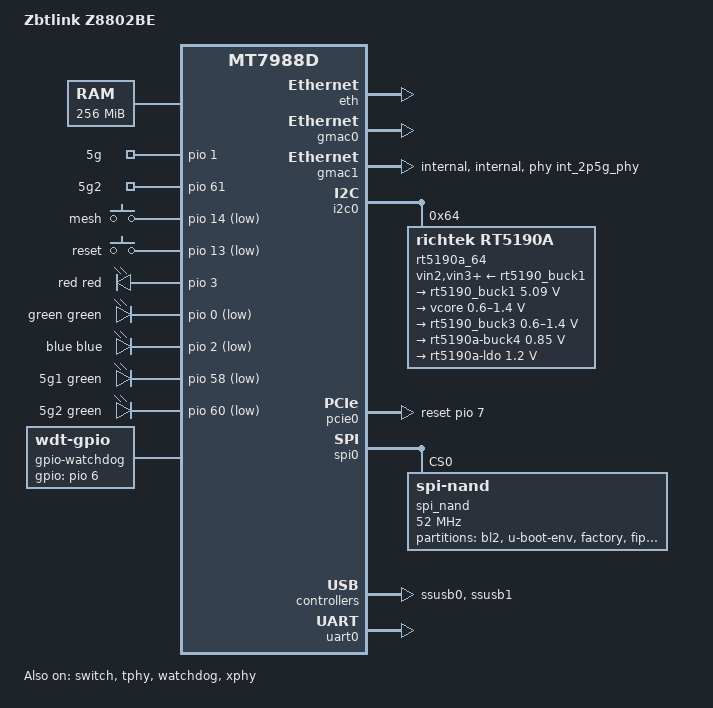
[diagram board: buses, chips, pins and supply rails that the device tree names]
// SPDX-License-Identifier: (GPL-2.0 OR MIT)

/dts-v1/;
#include <dt-bindings/input/input.h>
#include <dt-bindings/gpio/gpio.h>
#include <dt-bindings/leds/common.h>
#include <dt-bindings/pinctrl/mt65xx.h>
#include <dt-bindings/regulator/richtek,rt5190a-regulator.h>

#include "mt7988a.dtsi"

/ {
	model = "Zbtlink Z8802BE";
	compatible = "zbtlink,zbt-z8802be", "mediatek,mt7988d";

	aliases {
		serial0 = &uart0;
		label-mac-device = &gmac0;
		led-boot = &led_sys_red;
		led-failsafe = &led_sys_red;
		led-running = &led_sys_green;
		led-upgrade = &led_sys_red;
	};

	chosen {
		bootargs = "console=ttyS0,115200n1 loglevel=8 earlycon=uart8250,mmio32,0x11000000 pci=pcie_bus_perf";
	};

	cpus {
		/delete-node/ cpu@3;
	};

	memory {
		reg = <0x0 0x40000000 0x0 0x10000000>;
	};

	gpio-export {
		compatible = "gpio-export";
		#size-cells = <0>;

		5g {
				gpio-export,name = "5g";
				gpio-export,output = <0>;
				gpios = <&pio 1 GPIO_ACTIVE_HIGH>;
		};
		5g2 {
				gpio-export,name = "5g2";
				gpio-export,output = <0>;
				gpios = <&pio 61 GPIO_ACTIVE_HIGH>;
		};
    };

	gpio-keys {
		compatible = "gpio-keys";

		button-mesh {
			label = "mesh";
			linux,code = <KEY_WPS_BUTTON>;
			gpios = <&pio 14 GPIO_ACTIVE_LOW>;
		};

		button-reset {
			label = "reset";
			linux,code = <KEY_RESTART>;
			gpios = <&pio 13 GPIO_ACTIVE_LOW>;
		};
	};

	gpio-leds {
		compatible = "gpio-leds";

		led_sys_red: system_red {
			label = "red";
			color = <LED_COLOR_ID_RED>;
			gpios = <&pio 3 GPIO_ACTIVE_HIGH>;
			default-state = "on";
		};

		led_sys_green: system_green {
			label = "green";
			color = <LED_COLOR_ID_GREEN>;
			gpios = <&pio 0 GPIO_ACTIVE_LOW>;
			default-state = "off";
		};

		led_sys_blue: system_blue {
			label = "blue";
			color = <LED_COLOR_ID_BLUE>;
			gpios = <&pio 2 GPIO_ACTIVE_LOW>;
			default-state = "off";
		};

		5g1 {
			label = "5g1";
			color = <LED_COLOR_ID_GREEN>;
			gpios = <&pio 58 GPIO_ACTIVE_LOW>;
			default-state = "off";
		};

		5g2 {
			label = "5g2";
			color = <LED_COLOR_ID_GREEN>;
			gpios = <&pio 60 GPIO_ACTIVE_LOW>;
			default-state = "off";
		};
	};

	gpio-watchdog {
		compatible = "linux,wdt-gpio";
		gpios = <&pio 6 GPIO_ACTIVE_HIGH>;
		hw_algo = "toggle";
		hw_margin_ms = <1000>;
		always-running;
	};
};

&cpu0 {
	proc-supply = <&rt5190_buck3>;
};

&cpu1 {
	proc-supply = <&rt5190_buck3>;
};

&cpu2 {
	proc-supply = <&rt5190_buck3>;
};

&cci {
	proc-supply = <&rt5190_buck3>;
};

&eth {
	status = "okay";
};

&gmac0 {
	nvmem-cells = <&macaddr_factory_ffff4>;
	nvmem-cell-names = "mac-address";
	status = "okay";
};

&gmac1 {
	nvmem-cells = <&macaddr_factory_ffffa>;
	nvmem-cell-names = "mac-address";
	label = "wan";

	phy-mode = "internal";
	phy-connection-type = "internal";
	phy = <&int_2p5g_phy>;

	status = "okay";
};

&gsw_port0 {
	label = "lan1";
};

&gsw_port1 {
	label = "lan2";
};

&gsw_port2 {
	label = "lan3";
};

&gsw_port3 {
	label = "lan4";
};

&i2c0 {
	pinctrl-names = "default";
	pinctrl-0 = <&i2c0_pins>;
	status = "okay";

	rt5190a_64: rt5190a@64 {
		compatible = "richtek,rt5190a";
		reg = <0x64>;
		/*interrupts-extended = <&gpio26 0 IRQ_TYPE_LEVEL_LOW>;*/
		vin2-supply = <&rt5190_buck1>;
		vin3-supply = <&rt5190_buck1>;
		vin4-supply = <&rt5190_buck1>;

		regulators {
			rt5190_buck1: buck1 {
				regulator-name = "rt5190a-buck1";
				regulator-min-microvolt = <5090000>;
				regulator-max-microvolt = <5090000>;
				regulator-allowed-modes = <RT5190A_OPMODE_AUTO RT5190A_OPMODE_FPWM>;
				regulator-boot-on;
				regulator-always-on;
			};

			buck2 {
				regulator-name = "vcore";
				regulator-min-microvolt = <600000>;
				regulator-max-microvolt = <1400000>;
				regulator-boot-on;
				regulator-always-on;
			};

			rt5190_buck3: buck3 {
				regulator-name = "vproc";
				regulator-min-microvolt = <600000>;
				regulator-max-microvolt = <1400000>;
				regulator-boot-on;
			};

			buck4 {
				regulator-name = "rt5190a-buck4";
				regulator-min-microvolt = <850000>;
				regulator-max-microvolt = <850000>;
				regulator-allowed-modes = <RT5190A_OPMODE_AUTO RT5190A_OPMODE_FPWM>;
				regulator-boot-on;
				regulator-always-on;
			};

			ldo {
				regulator-name = "rt5190a-ldo";
				regulator-min-microvolt = <1200000>;
				regulator-max-microvolt = <1200000>;
				regulator-boot-on;
				regulator-always-on;
			};
		};
	};
};

&pcie0 {
	reset-gpios = <&pio 7 GPIO_ACTIVE_HIGH>;
	status = "okay";

	pcie@0,0 {
		reg = <0x0000 0 0 0 0>;
		#address-cells = <3>;
		#size-cells = <2>;

		mt7992@0,0 {
			reg = <0x0000 0 0 0 0>;
			#address-cells = <1>;
			#size-cells = <0>;
			nvmem-cells = <&eeprom_factory_0>;
			nvmem-cell-names = "eeprom";

			band@0 {
				reg = <0>;
				nvmem-cells = <&macaddr_factory_4>;
				nvmem-cell-names = "mac-address";
			};

			/* FIXME: this does not work */
			band@1 {
				reg = <1>;
				nvmem-cells = <&macaddr_factory_a>;
				nvmem-cell-names = "mac-address";
			};
		};
	};
};

&spi0 {
	pinctrl-names = "default";
	pinctrl-0 = <&spi0_flash_pins>;
	status = "okay";

	spi_nand: spi_nand@0 {
		compatible = "spi-nand";
		reg = <0>;
		#address-cells = <1>;
		#size-cells = <1>;

		spi-cal-enable;
		spi-cal-mode = "read-data";
		spi-cal-datalen = <7>;
		spi-cal-data = /bits/ 8 <0x53 0x50 0x49 0x4E 0x41 0x4E 0x44>;
		spi-cal-addrlen = <5>;
		spi-cal-addr = /bits/ 32 <0x0 0x0 0x0 0x0 0x0>;

		spi-max-frequency = <52000000>;
		spi-tx-bus-width = <4>;
		spi-rx-bus-width = <4>;

		mediatek,nmbm;
		mediatek,bmt-max-ratio = <1>;
		mediatek,bmt-max-reserved-blocks = <64>;

		partitions {
			compatible = "fixed-partitions";
			#address-cells = <1>;
			#size-cells = <1>;

			partition@0 {
				label = "bl2";
				reg = <0x0 0x100000>;
				read-only;
			};

			partition@100000 {
				label = "u-boot-env";
				reg = <0x100000 0x80000>;
				read-only;
			};

			partition@180000 {
				label = "factory";
				reg = <0x180000 0x400000>;
				read-only;

				nvmem-layout {
					compatible = "fixed-layout";
					#address-cells = <1>;
					#size-cells = <1>;

					eeprom_factory_0: eeprom@0 {
						reg = <0x0 0x1e00>;
					};

					macaddr_factory_4: mac-address@4 {
						reg = <0x4 0x6>;
					};

					macaddr_factory_a: mac-address@a {
						reg = <0xa 0x6>;
					};

					macaddr_factory_ffff4: macaddr@ffff4 {
						reg = <0xffff4 0x6>;
					};

					macaddr_factory_ffffa: macaddr@ffffa {
						reg = <0xffffa 0x6>;
					};
				};
			};

			partition@580000 {
				label = "fip";
				reg = <0x580000 0x200000>;
				read-only;
			};

			partition@780000 {
				label = "ubi";
				reg = <0x780000 0x7080000>;
			};
		};
	};
};

&ssusb0 {
	status = "okay";
};

&ssusb1 {
	status = "okay";
};

&switch {
	status = "okay";
};

&tphy {
	status = "okay";
};

&uart0 {
	status = "okay";
};

&watchdog {
	status = "okay";
};

&xphy {
	status = "okay";
};
